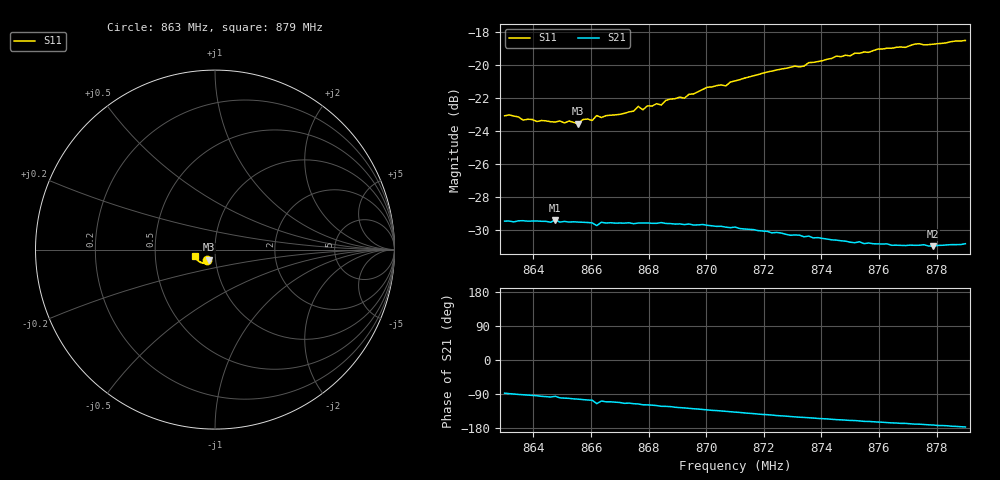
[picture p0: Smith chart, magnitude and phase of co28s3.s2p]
# HZ S RI R 50
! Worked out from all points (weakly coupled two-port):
!   101 points, 863 MHz to 879 MHz, reference 50 ohm
!   highest |S21| = -29.38 dB at 864.76 MHz (marker M1); lowest = -31.0 dB at 877.88 MHz (marker M2)
!   lowest |S11| = -23.5 dB at 865.56 MHz (marker M3), VSWR 1.14, Z = 46.3 - j5.28 ohm
!   |S11| at or under -10 dB: start of sweep to end of sweep
!   S12 and S22 are empty: the file has one direction only
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8.63e8  -0.0433 -0.0553  0.00144 -0.0336  0 0  0 0
8.646e8  -0.0376 -0.056  -0.0045 -0.0331  0 0  0 0
8.6476e8  -0.0343 -0.0579  -0.00341 -0.0338  0 0  0 0
8.6556e8  -0.0348 -0.0567  -0.00772 -0.0325  0 0  0 0
8.6572e8  -0.0346 -0.0591  -0.00836 -0.0323  0 0  0 0
8.6604e8  -0.0335 -0.0592  -0.00921 -0.032  0 0  0 0
8.662e8  -0.0358 -0.0606  -0.0138 -0.0295  0 0  0 0
8.6636e8  -0.0355 -0.0597  -0.0105 -0.0317  0 0  0 0
8.6748e8  -0.0346 -0.0638  -0.0142 -0.0299  0 0  0 0
8.6764e8  -0.0366 -0.0655  -0.0146 -0.0299  0 0  0 0
8.678e8  -0.0349 -0.0645  -0.0157 -0.0293  0 0  0 0
8.6796e8  -0.0358 -0.0663  -0.0158 -0.0292  0 0  0 0
8.6844e8  -0.0367 -0.0663  -0.0177 -0.0282  0 0  0 0
8.686e8  -0.0371 -0.0689  -0.0177 -0.028  0 0  0 0
8.6924e8  -0.0392 -0.0691  -0.0195 -0.0264  0 0  0 0
8.7004e8  -0.0437 -0.0738  -0.0218 -0.0244  0 0  0 0
8.7068e8  -0.0461 -0.0733  -0.023 -0.0226  0 0  0 0
8.71e8  -0.0487 -0.0752  -0.0238 -0.0218  0 0  0 0
8.7372e8  -0.0698 -0.0745  -0.0267 -0.0135  0 0  0 0
8.7644e8  -0.0941 -0.0619  -0.0276 -0.0069  0 0  0 0
8.7788e8  -0.1049 -0.0492  -0.028 -0.00414  0 0  0 0
8.79e8  -0.1127 -0.038  -0.0287 -0.00166  0 0  0 0
